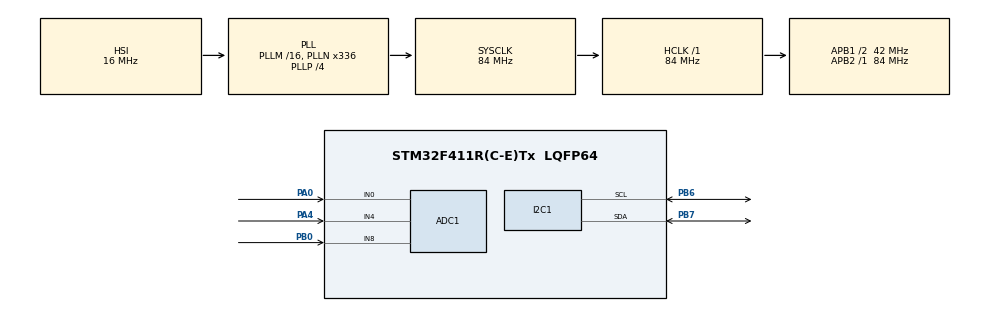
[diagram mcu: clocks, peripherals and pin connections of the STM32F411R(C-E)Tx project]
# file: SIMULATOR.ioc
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ADC1.Channel-1\#ChannelRegularConversion=ADC_CHANNEL_0
ADC1.NbrOfConversionFlag=1
ADC1.Rank-1\#ChannelRegularConversion=1
ADC1.SamplingTime-1\#ChannelRegularConversion=ADC_SAMPLETIME_3CYCLES
ADC1.master=1
FREERTOS.Tasks01=IgnitionTask,40,256,StartIgnitionTask,Default,NULL,Dynamic,NULL,NULL;EcuTask,32,256,StartEcuTask,Default,NULL,Dynamic,NULL,NULL;SensorTask,24,256,StartSensorTask,Default,NULL,Dynamic,NULL,NULL;DisplayTask,16,512,StartDisplayTask,Default,NULL,Dynamic,NULL,NULL;LedTask,16,256,StartLedTask,Default,NULL,Dynamic,NULL,NULL;UartTask,8,512,StartUartTask,Default,NULL,Dynamic,NULL,NULL
FREERTOS.configUSE_OS2_MUTEX=1
I2C1.I2C_Mode=I2C_Fast
Mcu.Family=STM32F4
Mcu.Name=STM32F411R(C-E)Tx
Mcu.Package=LQFP64
NVIC.PriorityGroup=NVIC_PRIORITYGROUP_4
PA0-WKUP.Signal=ADCx_IN0
PA4.Signal=ADCx_IN4
PB0.Signal=ADCx_IN8
PB6.Mode=I2C
PB6.Signal=I2C1_SCL
PB7.Mode=I2C
PB7.Signal=I2C1_SDA
PC14-OSC32_IN.Mode=LSE-External-Oscillator
PC14-OSC32_IN.Signal=RCC_OSC32_IN
PC15-OSC32_OUT.Mode=LSE-External-Oscillator
PC15-OSC32_OUT.Signal=RCC_OSC32_OUT
PH0\ -\ OSC_IN.Mode=HSE-External-Clock-Source
PH0\ -\ OSC_IN.Signal=RCC_OSC_IN
PH1\ -\ OSC_OUT.Mode=HSE-External-Clock-Source
PH1\ -\ OSC_OUT.Signal=RCC_OSC_OUT
ProjectManager.HeapSize=0x200
ProjectManager.StackSize=0x400
ProjectManager.TargetToolchain=STM32CubeIDE
RCC.48MHZClocksFreq_Value=84000000
RCC.AHBFreq_Value=84000000
RCC.APB1CLKDivider=RCC_HCLK_DIV2
RCC.APB1Freq_Value=42000000
RCC.APB1TimFreq_Value=84000000
RCC.APB2Freq_Value=84000000
RCC.APB2TimFreq_Value=84000000
RCC.CortexFreq_Value=84000000
RCC.FLatency-AdvancedSettings=FLASH_LATENCY_2
RCC.HCLKFreq_Value=84000000
RCC.HSE_VALUE=8000000
RCC.HSI_VALUE=16000000
RCC.PLLN=336
RCC.PLLP=RCC_PLLP_DIV4
RCC.SYSCLKFreq_VALUE=84000000
RCC.SYSCLKSource=RCC_SYSCLKSOURCE_PLLCLK
RCC.VCOOutputFreq_Value=336000000
SH.ADCx_IN0.0=ADC1_IN0,IN0
SH.ADCx_IN4.0=ADC1_IN4,IN4
SH.ADCx_IN8.0=ADC1_IN8,IN8
VP_FREERTOS_VS_CMSIS_V2.Mode=CMSIS_V2
board=NUCLEO-F411RE

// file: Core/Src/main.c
/* USER CODE BEGIN Header */
/**
  ******************************************************************************
  * @file           : main.c
  * @brief          : Main program body
  ******************************************************************************
  * @attention
  *
  * Copyright (c) 2026 STMicroelectronics.
  * All rights reserved.
  *
  * This software is licensed under terms that can be found in the LICENSE file
  * in the root directory of this software component.
  * If no LICENSE file comes with this software, it is provided AS-IS.
  *
  ******************************************************************************
  */
/* USER CODE END Header */
#include "main.h"
#include "cmsis_os.h"

/* USER CODE BEGIN Includes */
#include "led.h"
#include "vehicle.h"
#include "ignition.h"
#include "ecu.h"
#include "ssd1306.h"
#include "gpio.h"
#include "uart.h"
#include "display.h"
#include <string.h>
#include <stdio.h>
/* USER CODE END Includes */

ADC_HandleTypeDef hadc1;

I2C_HandleTypeDef hi2c1;

/* Definitions for IgnitionTask */
osThreadId_t IgnitionTaskHandle;
const osThreadAttr_t IgnitionTask_attributes = {
  .name = "IgnitionTask",
  .stack_size = 256 * 4,
  .priority = (osPriority_t) osPriorityHigh,
};
/* Definitions for EcuTask */
osThreadId_t EcuTaskHandle;
const osThreadAttr_t EcuTask_attributes = {
  .name = "EcuTask",
  .stack_size = 256 * 4,
  .priority = (osPriority_t) osPriorityAboveNormal,
};
/* Definitions for SensorTask */
osThreadId_t SensorTaskHandle;
const osThreadAttr_t SensorTask_attributes = {
  .name = "SensorTask",
  .stack_size = 256 * 4,
  .priority = (osPriority_t) osPriorityNormal,
};
/* Definitions for DisplayTask */
osThreadId_t DisplayTaskHandle;
const osThreadAttr_t DisplayTask_attributes = {
  .name = "DisplayTask",
  .stack_size = 512 * 4,
  .priority = (osPriority_t) osPriorityBelowNormal,
};
/* Definitions for LedTask */
osThreadId_t LedTaskHandle;
const osThreadAttr_t LedTask_attributes = {
  .name = "LedTask",
  .stack_size = 256 * 4,
  .priority = (osPriority_t) osPriorityBelowNormal,
};
/* Definitions for UartTask */
osThreadId_t UartTaskHandle;
const osThreadAttr_t UartTask_attributes = {
  .name = "UartTask",
  .stack_size = 512 * 4,
  .priority = (osPriority_t) osPriorityLow,
};

void SystemClock_Config(void);
static void MX_GPIO_Init(void);
static void MX_I2C1_Init(void);
static void MX_ADC1_Init(void);
void StartIgnitionTask(void *argument);
void StartEcuTask(void *argument);
void StartSensorTask(void *argument);
void StartDisplayTask(void *argument);
void StartLedTask(void *argument);
void StartUartTask(void *argument);

/* USER CODE BEGIN 0 */
ECU_Fault_t Fault;

char uartBuffer[200];

static IgnitionState_t PrevIgnition = IGNITION_OFF;

uint8_t ignitionStartup = 0;

uint32_t ADC_ReadChannel(uint32_t channel)
{
    ADC_ChannelConfTypeDef sConfig = {0};

    sConfig.Channel = channel;
    sConfig.Rank = 1;
    sConfig.SamplingTime = ADC_SAMPLETIME_3CYCLES;

    HAL_ADC_ConfigChannel(&hadc1, &sConfig);

    HAL_ADC_Start(&hadc1);
    HAL_ADC_PollForConversion(&hadc1, HAL_MAX_DELAY);

    uint32_t adc_value = HAL_ADC_GetValue(&hadc1);

    HAL_ADC_Stop(&hadc1);

    return adc_value;
}

/* USER CODE END 0 */

int main(void)
{

  /* MCU Configuration--------------------------------------------------------*/

  /* Reset of all peripherals, Initializes the Flash interface and the Systick. */
  HAL_Init();

  /* Configure the system clock */
  SystemClock_Config();

  /* Initialize all configured peripherals */
  MX_GPIO_Init();
  MX_I2C1_Init();
  MX_ADC1_Init();
  /* USER CODE BEGIN 2 */
  SSD1306_Init();
  Display_IgnitionOff();

  UART_Init(UART2);      // USART2 -> PC Serial Monitor
  UART_Init(UART1);      // USART1 -> ESP8266
 // UART_SendString(UART1, "Hello ESP32\r\n");

  LED_Init();

  BUTTON_Init();

  Ignition_Init();
  SSD1306_UpdateScreen();

  /* USER CODE END 2 */

  /* Init scheduler */
  osKernelInitialize();

  /* Create the thread(s) */
  /* creation of IgnitionTask */
  IgnitionTaskHandle = osThreadNew(StartIgnitionTask, NULL, &IgnitionTask_attributes);

  /* creation of EcuTask */
  EcuTaskHandle = osThreadNew(StartEcuTask, NULL, &EcuTask_attributes);

  /* creation of SensorTask */
  SensorTaskHandle = osThreadNew(StartSensorTask, NULL, &SensorTask_attributes);

  /* creation of DisplayTask */
  DisplayTaskHandle = osThreadNew(StartDisplayTask, NULL, &DisplayTask_attributes);

  /* creation of LedTask */
  LedTaskHandle = osThreadNew(StartLedTask, NULL, &LedTask_attributes);

  /* creation of UartTask */
  UartTaskHandle = osThreadNew(StartUartTask, NULL, &UartTask_attributes);

  /* Start scheduler */
  osKernelStart();

  /* We should never get here as control is now taken by the scheduler */

  /* Infinite loop */
  while (1)
  {

	    /* USER CODE BEGIN 3 */

  }
}

void SystemClock_Config(void)
{
  RCC_OscInitTypeDef RCC_OscInitStruct = {0};
  RCC_ClkInitTypeDef RCC_ClkInitStruct = {0};

  /** Configure the main internal regulator output voltage
  */
  __HAL_RCC_PWR_CLK_ENABLE();
  __HAL_PWR_VOLTAGESCALING_CONFIG(PWR_REGULATOR_VOLTAGE_SCALE1);

  /** Initializes the RCC Oscillators according to the specified parameters
  * in the RCC_OscInitTypeDef structure.
  */
  RCC_OscInitStruct.OscillatorType = RCC_OSCILLATORTYPE_HSI;
  RCC_OscInitStruct.HSIState = RCC_HSI_ON;
  RCC_OscInitStruct.HSICalibrationValue = RCC_HSICALIBRATION_DEFAULT;
  RCC_OscInitStruct.PLL.PLLState = RCC_PLL_ON;
  RCC_OscInitStruct.PLL.PLLSource = RCC_PLLSOURCE_HSI;
  RCC_OscInitStruct.PLL.PLLM = 16;
  RCC_OscInitStruct.PLL.PLLN = 336;
  RCC_OscInitStruct.PLL.PLLP = RCC_PLLP_DIV4;
  RCC_OscInitStruct.PLL.PLLQ = 4;
  if (HAL_RCC_OscConfig(&RCC_OscInitStruct) != HAL_OK)
  {
    Error_Handler();
  }

  /** Initializes the CPU, AHB and APB buses clocks
  */
  RCC_ClkInitStruct.ClockType = RCC_CLOCKTYPE_HCLK|RCC_CLOCKTYPE_SYSCLK
                              |RCC_CLOCKTYPE_PCLK1|RCC_CLOCKTYPE_PCLK2;
  RCC_ClkInitStruct.SYSCLKSource = RCC_SYSCLKSOURCE_PLLCLK;
  RCC_ClkInitStruct.AHBCLKDivider = RCC_SYSCLK_DIV1;
  RCC_ClkInitStruct.APB1CLKDivider = RCC_HCLK_DIV2;
  RCC_ClkInitStruct.APB2CLKDivider = RCC_HCLK_DIV1;

  if (HAL_RCC_ClockConfig(&RCC_ClkInitStruct, FLASH_LATENCY_2) != HAL_OK)
  {
    Error_Handler();
  }
}

static void MX_ADC1_Init(void)
{

  ADC_ChannelConfTypeDef sConfig = {0};

  /** Configure the global features of the ADC (Clock, Resolution, Data Alignment and number of conversion)
  */
  hadc1.Instance = ADC1;
  hadc1.Init.ClockPrescaler = ADC_CLOCK_SYNC_PCLK_DIV4;
  hadc1.Init.Resolution = ADC_RESOLUTION_12B;
  hadc1.Init.ScanConvMode = DISABLE;
  hadc1.Init.ContinuousConvMode = DISABLE;
  hadc1.Init.DiscontinuousConvMode = DISABLE;
  hadc1.Init.ExternalTrigConvEdge = ADC_EXTERNALTRIGCONVEDGE_NONE;
  hadc1.Init.ExternalTrigConv = ADC_SOFTWARE_START;
  hadc1.Init.DataAlign = ADC_DATAALIGN_RIGHT;
  hadc1.Init.NbrOfConversion = 1;
  hadc1.Init.DMAContinuousRequests = DISABLE;
  hadc1.Init.EOCSelection = ADC_EOC_SINGLE_CONV;
  if (HAL_ADC_Init(&hadc1) != HAL_OK)
  {
    Error_Handler();
  }

  /** Configure for the selected ADC regular channel its corresponding rank in the sequencer and its sample time.
  */
  sConfig.Channel = ADC_CHANNEL_0;
  sConfig.Rank = 1;
  sConfig.SamplingTime = ADC_SAMPLETIME_3CYCLES;
  if (HAL_ADC_ConfigChannel(&hadc1, &sConfig) != HAL_OK)
  {
    Error_Handler();
  }

}

static void MX_I2C1_Init(void)
{

  hi2c1.Instance = I2C1;
  hi2c1.Init.ClockSpeed = 400000;
  hi2c1.Init.DutyCycle = I2C_DUTYCYCLE_2;
  hi2c1.Init.OwnAddress1 = 0;
  hi2c1.Init.AddressingMode = I2C_ADDRESSINGMODE_7BIT;
  hi2c1.Init.DualAddressMode = I2C_DUALADDRESS_DISABLE;
  hi2c1.Init.OwnAddress2 = 0;
  hi2c1.Init.GeneralCallMode = I2C_GENERALCALL_DISABLE;
  hi2c1.Init.NoStretchMode = I2C_NOSTRETCH_DISABLE;
  if (HAL_I2C_Init(&hi2c1) != HAL_OK)
  {
    Error_Handler();
  }

}

static void MX_GPIO_Init(void)
{

  /* GPIO Ports Clock Enable */
  __HAL_RCC_GPIOC_CLK_ENABLE();
  __HAL_RCC_GPIOH_CLK_ENABLE();
  __HAL_RCC_GPIOA_CLK_ENABLE();
  __HAL_RCC_GPIOB_CLK_ENABLE();

}

void StartIgnitionTask(void *argument)
{
  /* USER CODE BEGIN 5 */
  /* Infinite loop */
  for(;;)
  {
	    Ignition_Update();

	    if(Ignition_GetState() != PrevIgnition)
	    {
	        if(Ignition_GetState() == IGNITION_ON)
	        {
	        	UART_SendString(UART2, "\r\nIGNITION ON\r\n");
	        	UART_SendString(UART1, "\r\nIGNITION ON\r\n");

	            ignitionStartup = 0;

	            Display_IgnitionOn();

	            LED_SetColor(LED_WHITE);

	            osDelay(1000);

	            ignitionStartup = 1;
	        }
	        else
	        {
	        	UART_SendString(UART2, "\r\nIGNITION OFF\r\n");
	        	UART_SendString(UART1, "\r\nIGNITION OFF\r\n");

	            Display_IgnitionOff();

	            LED_SetColor(LED_OFF);

	            ignitionStartup = 0;
	        }

	        PrevIgnition = Ignition_GetState();
	    }

	    osDelay(20);
  }
  /* USER CODE END 5 */
}

void StartEcuTask(void *argument)
{
  /* USER CODE BEGIN StartEcuTask */
  /* Infinite loop */
  for(;;)
  {
      if(Ignition_GetState() == IGNITION_ON)
      {
          ECU_CheckFaults();
      }

      osDelay(100);
  }
  /* USER CODE END StartEcuTask */
}

void StartSensorTask(void *argument)
{
  /* USER CODE BEGIN StartSensorTask */
  /* Infinite loop */
  for(;;)
  {
	    if(Ignition_GetState() == IGNITION_ON)
	    {
	        /* Read ADC */

	        VehicleData.tempADC =
	                ADC_ReadChannel(ADC_CHANNEL_0);

	        VehicleData.speedADC =
	                ADC_ReadChannel(ADC_CHANNEL_4);

	        VehicleData.rpmADC =
	                ADC_ReadChannel(ADC_CHANNEL_8);

	        /* Convert */

	        VehicleData.temperature =
	                Vehicle_GetTemperature(VehicleData.tempADC);

	        VehicleData.speed =
	                Vehicle_GetSpeed(VehicleData.speedADC);

	        VehicleData.rpm =
	                Vehicle_GetRPM(VehicleData.rpmADC);

	        VehicleData.fuel =
	                Vehicle_GetFuel(VehicleData.speed);
	    }

	    osDelay(100);
  }
  /* USER CODE END StartSensorTask */
}

void StartDisplayTask(void *argument)
{
  /* USER CODE BEGIN StartDisplayTask */
  /* Infinite loop */

    for(;;)
    {
        if(Ignition_GetState() == IGNITION_ON)
        {
            if(ignitionStartup)
            {
                ECU_Fault_t fault = ECU_GetFaultStatus();
                Display_Update(&VehicleData,&fault);
            }
        }
        else
        {
            Display_IgnitionOff();
        }

        osDelay(200);
    }
  /* USER CODE END StartDisplayTask */
}

void StartLedTask(void *argument)
{
  /* USER CODE BEGIN StartLedTask */
  /* Infinite loop */
    ECU_Fault_t fault;

    for(;;)
    {
        if(Ignition_GetState() == IGNITION_ON)
        {
            /* Wait until startup indication is over */
            if(ignitionStartup)
            {
                fault = ECU_GetFaultStatus();

                LED_Update(fault);
            }
        }
        else
        {
            LED_SetColor(LED_OFF);
        }

        osDelay(100);
  }
  /* USER CODE END StartLedTask */
}

void StartUartTask(void *argument)
{
  /* USER CODE BEGIN StartUartTask */
  /* Infinite loop */
    ECU_Fault_t fault;

    char buff[200];        // PC Serial Monitor (UART2)
    char espBuffer[100];   // ESP32 (UART1)

    char faultString[20];

    uint8_t faultCount;

    for(;;)
    {
        if(Ignition_GetState() == IGNITION_ON)
        {
            fault = ECU_GetFaultStatus();

            /*==============================
             * UART2 -> PC Serial Monitor
             *=============================*/

            sprintf(buff,
                    "Temperature : %3d C   %s\r\n"
                    "Fuel        : %3d %%   %s\r\n"
                    "Speed       : %3d km/h %s\r\n"
                    "RPM         : %4d     %s\r\n"
                    "---------------------------\r\n",

                    VehicleData.temperature,
                    fault.overTemperature ? "FAULT" : "OK",

                    VehicleData.fuel,
                    fault.lowFuel ? "FAULT" : "OK",

                    VehicleData.speed,
                    fault.overSpeed ? "FAULT" : "OK",

                    VehicleData.rpm,
                    fault.overRPM ? "FAULT" : "OK");

            UART_SendString(UART2, buff);

            /*==============================
             * Build Fault String
             *=============================*/

            faultCount = 0;

            faultCount += fault.overTemperature;
            faultCount += fault.overSpeed;
            faultCount += fault.overRPM;
            faultCount += fault.lowFuel;

            if(faultCount == 0)
            {
                strcpy(faultString, "OK");
            }
            else if(faultCount == 1)
            {
                if(fault.overTemperature)
                    strcpy(faultString, "OVERHEATING");

                else if(fault.overSpeed)
                    strcpy(faultString, "HIGH SPEED");

                else if(fault.overRPM)
                    strcpy(faultString, "HIGH RPM");

                else if(fault.lowFuel)
                    strcpy(faultString, "LOW FUEL");
            }
            else
            {
                faultString[0] = '\0';

                if(fault.overTemperature)
                    strcat(faultString, "T");

                if(fault.overSpeed)
                {
                    if(strlen(faultString))
                        strcat(faultString, "+");

                    strcat(faultString, "S");
                }

                if(fault.overRPM)
                {
                    if(strlen(faultString))
                        strcat(faultString, "+");

                    strcat(faultString, "R");
                }

                if(fault.lowFuel)
                {
                    if(strlen(faultString))
                        strcat(faultString, "+");

                    strcat(faultString, "L");
                }
            }

            /*==============================
             * UART1 -> ESP32
             *=============================*/

            sprintf(espBuffer,
                    "T=%d,S=%d,R=%d,F=%d,ST=%s,E=%s\r\n",

                    VehicleData.temperature,
                    VehicleData.speed,
                    VehicleData.rpm,
                    VehicleData.fuel,

                    faultString,

                    (Ignition_GetState()==IGNITION_ON) ? "ON" : "OFF");

            UART_SendString(UART1, espBuffer);
        }

        osDelay(1000);
    }
  /* USER CODE END StartUartTask */
}

void Error_Handler(void)
{
  __disable_irq();
  while (1)
  {
  }
}
